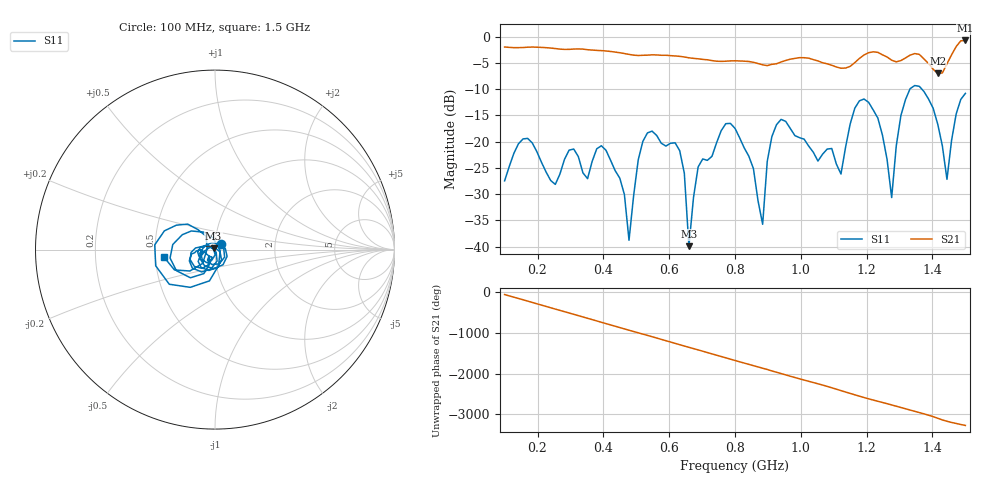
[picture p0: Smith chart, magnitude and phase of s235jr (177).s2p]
! NanoVNA-App
! Date: 2025-09-25 15:05:32
! Start: 100MHz Stop: 1,5GHz Points: 101
! S-Parameter data: F S11 S21 S12 S22
# Hz S RI R 50
!  Frequency  S11_Real  S11_Imag  S21_Real  S21_Imag  S12_Real  S12_Imag  S22_Real  S22_Imag
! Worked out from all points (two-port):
!   101 points, 100 MHz to 1.5 GHz, reference 50 ohm
!   highest |S21| = -0.71 dB at 1.5 GHz (marker M1); lowest = -7.0 dB at 1.416 GHz (marker M2)
!   |S21| within 3 dB of the highest: start of sweep to 626.6 MHz; 1.187 GHz to 1.257 GHz (69.91 MHz wide, 5.72 % of centre) (the widest 2 of 4)
!   lowest |S11| = -39.9 dB at 660 MHz (marker M3), VSWR 1.02, Z = 49.2 + j0.624 ohm
!   |S11| at or under -10 dB: start of sweep to 1.331 GHz; 1.368 GHz to end of sweep
!   S12 and S22 are empty: the file has one direction only
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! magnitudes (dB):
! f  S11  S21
! 100 MHz  -27.5  -2.0
! 170 MHz  -19.4  -2.0
! 338 MHz  -25.9  -2.4
! 408 MHz  -21.6  -2.7
! 478 MHz  -38.8  -3.4
! 520 MHz  -19.9  -3.5
! 576 MHz  -20.3  -3.5
! 632 MHz  -21.7  -3.7
! 660 MHz  -39.9  -4.0
! 688 MHz  -24.8  -4.2
! 800 MHz  -17.5  -4.6
! 884 MHz  -35.8  -5.4
! 926 MHz  -16.8  -5.2
! 1.038 GHz  -22.0  -4.4
! 1.122 GHz  -26.2  -6.0
! 1.192 GHz  -11.9  -3.5
! 1.234 GHz  -15.5  -3.0
! 1.276 GHz  -30.7  -4.5
! 1.332 GHz  -9.9  -3.5
! 1.416 GHz  -16.7  -7.0
! 1.444 GHz  -27.2  -5.2
! 1.5 GHz  -10.8  -0.7
